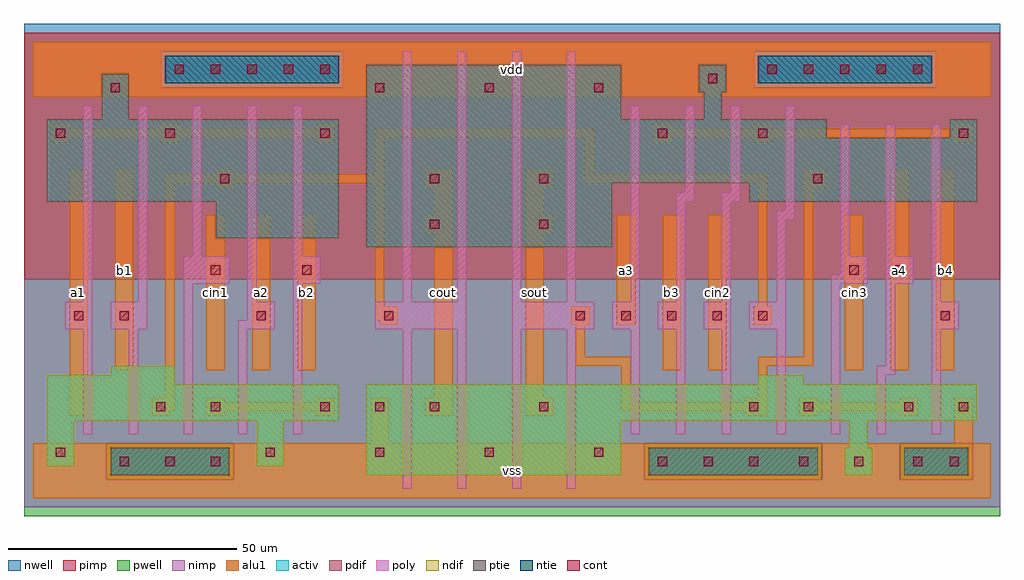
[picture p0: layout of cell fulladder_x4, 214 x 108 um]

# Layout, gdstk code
import gdstk
lib = gdstk.Library(unit=1e-6, precision=1e-09)
def R(c, l, rs):  # rectangles x0, y0, x1, y1
    for r in rs: c.add(gdstk.rectangle(r[:2], r[2:], *l))
def A(c, l, x, y, w, h, nx, ny, dx, dy):  # array of equal rectangles
    R(c, l, [(x+i*dx, y+j*dy, x+i*dx+w, y+j*dy+h) for i in range(nx) for j in range(ny)])
ndif = (3, 0)
pdif = (4, 0)
ntie = (5, 0)
ptie = (6, 0)
cont = (25, 0)
pwell = (41, 0)
nwell = (42, 0)
activ = (43, 0)
pimp = (44, 0)
nimp = (45, 0)
poly = (46, 0)
alu1 = (49, 0)

fulladder_x4 = lib.new_cell('fulladder_x4')
R(fulladder_x4, ndif, [(73,5,129,17), (178,5,184,11), (3,7,9,17), (49,7,55,17), (179,11,183,17), (3,17,67,25), (73,17,207,25), (3,25,31,27), (159,25,169,27), (17,27,31,29)])
R(fulladder_x4, pdif, [(73,55,127,69), (40,57,67,65), (3,65,67,83), (157,65,207,69), (73,69,207,79), (73,79,174,83), (201,79,207,83), (15,83,21,93), (73,83,129,95), (147,83,151,89), (146,89,152,95)])
R(fulladder_x4, ntie, [(29,91,67,97), (159,91,197,97)])
R(fulladder_x4, ptie, [(17,5,43,11), (135,5,172,11), (191,5,205,11)])
A(fulladder_x4, cont, 19, 7, 2, 2, 3, 1, 10, 0)
A(fulladder_x4, cont, 137, 7, 2, 2, 3, 1, 10, 0)
A(fulladder_x4, cont, 51, 9, 2, 2, 4, 1, 24, 0)
A(fulladder_x4, cont, 63, 19, 2, 2, 3, 1, 12, 0)
A(fulladder_x4, cont, 119, 39, 2, 2, 5, 1, 10, 0)
A(fulladder_x4, cont, 75, 89, 2, 2, 3, 1, 24, 0)
A(fulladder_x4, cont, 31, 93, 2, 2, 5, 1, 8, 0)
A(fulladder_x4, cont, 161, 93, 2, 2, 5, 1, 8, 0)
R(fulladder_x4, cont, [(168,7,170,9), (180,7,182,9), (193,7,195,9), (201,7,203,9), (5,9,7,11), (27,19,29,21), (39,19,41,21), (111,19,113,21), (157,19,159,21), (169,19,171,21), (191,19,193,21), (203,19,205,21), (9,39,11,41), (19,39,21,41), (49,39,51,41), (77,39,79,41), (199,39,201,41), (39,49,41,51), (59,49,61,51), (179,49,181,51), (189,49,191,51), (87,59,89,61), (111,59,113,61), (41,69,43,71), (87,69,89,71), (111,69,113,71), (171,69,173,71), (5,79,7,81), (29,79,31,81), (63,79,65,81), (137,79,139,81), (159,79,161,81), (203,79,205,81), (17,89,19,91), (148,91,150,93)])
R(fulladder_x4, pwell, [(-2,-4,212,48)])
R(fulladder_x4, nwell, [(-2,48,212,104)])
R(fulladder_x4, activ, [(17,5,43,11), (73,5,129,17), (135,5,172,11), (178,5,184,11), (191,5,205,11), (3,7,9,17), (49,7,55,17), (179,11,183,17), (3,17,67,25), (73,17,207,25), (3,25,31,27), (159,25,169,27), (17,27,31,29), (73,55,127,69), (40,57,67,65), (3,65,67,83), (157,65,207,69), (73,69,207,79), (73,79,174,83), (201,79,207,83), (15,83,21,93), (73,83,129,95), (147,83,151,89), (146,89,152,95), (29,91,67,97), (159,91,197,97)])
R(fulladder_x4, pimp, [(16,4,44,12), (134,4,173,12), (190,4,206,12), (-2,48,212,90), (-2,90,28,98), (68,90,158,98), (198,90,212,98), (-2,98,212,102)])
R(fulladder_x4, nimp, [(-2,-2,212,4), (-2,4,16,12), (44,4,134,12), (173,4,190,12), (206,4,212,12), (-2,12,212,48), (28,90,68,98), (158,90,198,98)])
A(fulladder_x4, poly, 81, 2, 2, 35, 4, 1, 12, 0)
A(fulladder_x4, poly, 131, 14, 2, 23, 3, 1, 10, 0)
A(fulladder_x4, poly, 127, 37, 6, 6, 3, 1, 10, 0)
A(fulladder_x4, poly, 81, 43, 2, 55, 4, 1, 12, 0)
R(fulladder_x4, poly, [(11,14,13,37), (21,14,23,37), (33,14,35,47), (45,14,47,37), (57,14,59,47), (163,14,165,37), (175,14,177,47), (185,14,187,27), (197,14,199,37), (185,27,189,29), (187,29,189,47), (7,37,13,43), (17,37,25,43), (45,37,53,39), (75,37,95,43), (105,37,123,43), (157,37,165,43), (197,37,203,43), (47,39,53,43), (11,43,13,86), (23,43,25,86), (47,43,49,86), (131,43,133,86), (141,43,143,65), (151,43,153,65), (163,43,165,61), (197,43,199,82), (33,47,43,53), (57,47,63,53), (175,47,183,49), (187,47,193,53), (177,49,183,53), (35,53,37,86), (57,53,59,86), (177,53,179,82), (187,53,189,82), (163,61,167,63), (165,63,167,86), (141,65,145,67), (151,65,155,67), (143,67,145,86), (153,67,155,86)])
A(fulladder_x4, alu1, 38, 28, 4, 34, 3, 1, 10, 0)
R(fulladder_x4, alu1, [(0,0,210,12), (74,12,78,22), (202,12,206,22), (8,18,12,72), (26,18,30,19), (38,18,42,19), (62,18,66,19), (86,18,92,22), (108,18,114,22), (156,18,161,19), (168,18,172,19), (190,18,194,19), (26,19,31,22), (38,19,66,21), (129,19,161,21), (168,19,194,21), (38,21,42,22), (62,21,66,22), (129,21,131,29), (156,21,161,22), (168,21,172,22), (190,21,194,22), (29,22,31,69), (88,22,92,58), (108,22,112,58), (159,22,161,29), (18,28,22,72), (138,28,142,62), (148,28,152,62), (178,28,182,62), (188,28,192,72), (198,28,202,72), (119,29,131,31), (159,29,171,31), (119,31,121,38), (169,31,171,68), (76,38,80,39), (118,38,122,42), (128,38,132,62), (158,38,162,42), (75,39,80,42), (75,42,77,69), (159,42,161,69), (86,58,92,62), (108,58,114,62), (88,62,92,68), (108,62,112,68), (40,68,44,69), (86,68,92,72), (108,68,114,72), (169,68,174,72), (29,69,77,71), (121,69,161,71), (40,71,44,72), (75,71,77,79), (121,71,123,79), (4,78,8,79), (28,78,32,79), (62,78,66,79), (136,78,140,79), (158,78,162,79), (202,78,206,79), (4,79,66,81), (75,79,123,81), (136,79,206,81), (4,81,8,82), (28,81,32,82), (62,81,66,82), (136,81,140,82), (158,81,162,82), (202,81,206,82), (0,88,210,100)])
fulladder_x4.add(gdstk.Label('a1', (10,45), layer=49, texttype=0))
fulladder_x4.add(gdstk.Label('b1', (20,50), layer=49, texttype=0))
fulladder_x4.add(gdstk.Label('b2', (60,45), layer=49, texttype=0))
fulladder_x4.add(gdstk.Label('a2', (50,45), layer=49, texttype=0))
fulladder_x4.add(gdstk.Label('cin1', (40,45), layer=49, texttype=0))
fulladder_x4.add(gdstk.Label('vss', (105,6), layer=49, texttype=0))
fulladder_x4.add(gdstk.Label('sout', (110,45), layer=49, texttype=0))
fulladder_x4.add(gdstk.Label('cout', (90,45), layer=49, texttype=0))
fulladder_x4.add(gdstk.Label('vdd', (105,94), layer=49, texttype=0))
fulladder_x4.add(gdstk.Label('cin2', (150,45), layer=49, texttype=0))
fulladder_x4.add(gdstk.Label('b3', (140,45), layer=49, texttype=0))
fulladder_x4.add(gdstk.Label('a3', (130,50), layer=49, texttype=0))
fulladder_x4.add(gdstk.Label('cin3', (180,45), layer=49, texttype=0))
fulladder_x4.add(gdstk.Label('b4', (200,50), layer=49, texttype=0))
fulladder_x4.add(gdstk.Label('a4', (190,50), layer=49, texttype=0))

lib.write_gds('fulladder_x4.gds')
